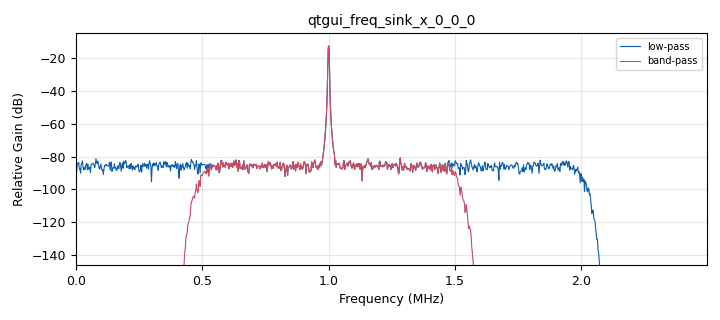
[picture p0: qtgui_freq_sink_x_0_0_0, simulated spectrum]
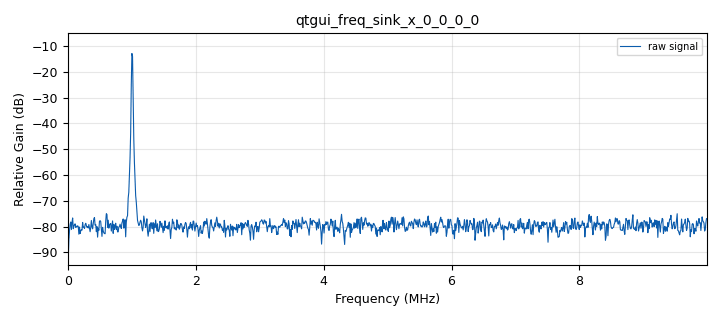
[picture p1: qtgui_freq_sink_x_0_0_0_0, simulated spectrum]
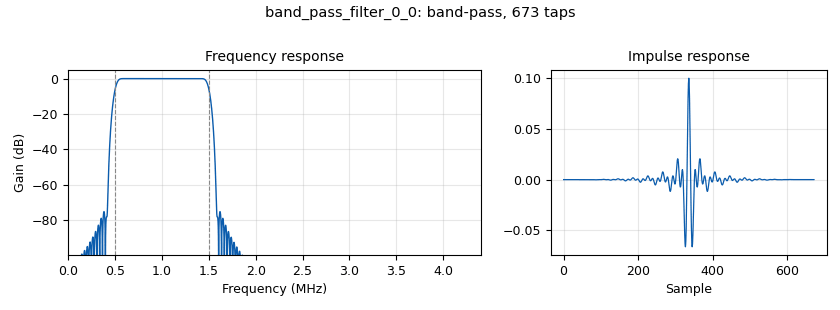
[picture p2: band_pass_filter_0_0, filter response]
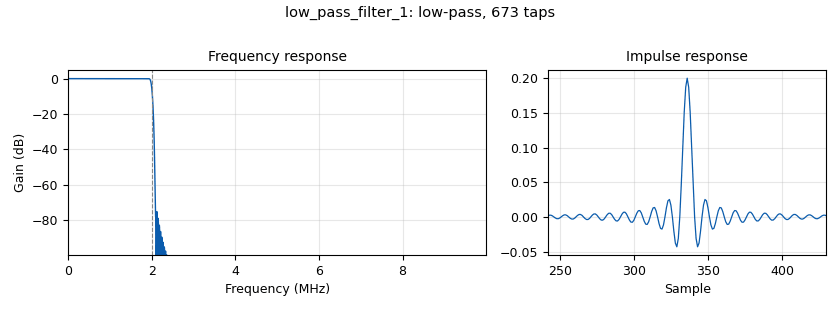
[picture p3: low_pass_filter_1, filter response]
<?xml version='1.0' encoding='utf-8'?>
<?grc format='1' created='3.7.11'?>
<flow_graph>
<block>
<key>options</key>
<param><key>id</key><value>top_block</value></param>
<param><key>generate_options</key><value>qt_gui</value></param>
<param><key>realtime_scheduling</key><value>1</value></param>
<param><key>thread_safe_setters</key><value>1</value></param>
</block>
<block>
<key>variable</key>
<param><key>id</key><value>decimation</value></param>
<param><key>value</key><value>4</value></param>
</block>
<block>
<key>variable_qtgui_range</key>
<param><key>id</key><value>freq</value></param>
<param><key>value</key><value>1e6</value></param>
<param><key>orient</key><value>Qt.Horizontal</value></param>
<param><key>start</key><value>10e3</value></param>
<param><key>step</key><value>2e5</value></param>
<param><key>stop</key><value>20e6</value></param>
</block>
<block>
<key>variable</key>
<param><key>id</key><value>samp_rate</value></param>
<param><key>value</key><value>20000000</value></param>
</block>
<block>
<key>analog_noise_source_x</key>
<param><key>id</key><value>analog_noise_source_x_0_0</value></param>
<param><key>amp</key><value>0.01</value></param>
<param><key>noise_type</key><value>analog.GR_GAUSSIAN</value></param>
<param><key>type</key><value>float</value></param>
<param><key>seed</key><value>0</value></param>
</block>
<block>
<key>analog_sig_source_x</key>
<param><key>id</key><value>analog_sig_source_x_0_0</value></param>
<param><key>amp</key><value>1</value></param>
<param><key>freq</key><value>freq</value></param>
<param><key>offset</key><value>0</value></param>
<param><key>type</key><value>float</value></param>
<param><key>samp_rate</key><value>samp_rate</value></param>
<param><key>waveform</key><value>analog.GR_SIN_WAVE</value></param>
</block>
<block>
<key>band_pass_filter</key>
<param><key>id</key><value>band_pass_filter_0_0</value></param>
<param><key>decim</key><value>decimation</value></param>
<param><key>type</key><value>fir_filter_fff</value></param>
<param><key>gain</key><value>1</value></param>
<param><key>high_cutoff_freq</key><value>1.5e6</value></param>
<param><key>low_cutoff_freq</key><value>5e5</value></param>
<param><key>samp_rate</key><value>samp_rate</value></param>
<param><key>width</key><value>1e5</value></param>
<param><key>win</key><value>firdes.WIN_BLACKMAN</value></param>
</block>
<block>
<key>blocks_add_xx</key>
<param><key>id</key><value>blocks_add_xx_0</value></param>
<param><key>type</key><value>float</value></param>
</block>
<block>
<key>blocks_throttle</key>
<param><key>id</key><value>blocks_throttle_0_0</value></param>
<param><key>samples_per_second</key><value>samp_rate</value></param>
<param><key>type</key><value>float</value></param>
</block>
<block>
<key>low_pass_filter</key>
<param><key>id</key><value>low_pass_filter_1</value></param>
<param><key>cutoff_freq</key><value>2e6</value></param>
<param><key>decim</key><value>decimation</value></param>
<param><key>type</key><value>fir_filter_fff</value></param>
<param><key>gain</key><value>1</value></param>
<param><key>samp_rate</key><value>samp_rate</value></param>
<param><key>width</key><value>100e3</value></param>
<param><key>win</key><value>firdes.WIN_BLACKMAN</value></param>
</block>
<block>
<key>qtgui_freq_sink_x</key>
<param><key>id</key><value>qtgui_freq_sink_x_0_0_0</value></param>
<param><key>autoscale</key><value>True</value></param>
<param><key>average</key><value>0.2</value></param>
<param><key>bw</key><value>samp_rate/decimation</value></param>
<param><key>fc</key><value>0</value></param>
<param><key>fftsize</key><value>2048</value></param>
<param><key>grid</key><value>True</value></param>
<param><key>color1</key><value>"red"</value></param>
<param><key>label1</key><value>low-pass</value></param>
<param><key>color2</key><value>"green"</value></param>
<param><key>label2</key><value>band-pass</value></param>
<param><key>nconnections</key><value>2</value></param>
<param><key>showports</key><value>True</value></param>
<param><key>freqhalf</key><value>False</value></param>
<param><key>type</key><value>float</value></param>
<param><key>wintype</key><value>firdes.WIN_HANN</value></param>
</block>
<block>
<key>qtgui_freq_sink_x</key>
<param><key>id</key><value>qtgui_freq_sink_x_0_0_0_0</value></param>
<param><key>autoscale</key><value>True</value></param>
<param><key>average</key><value>0.2</value></param>
<param><key>bw</key><value>samp_rate</value></param>
<param><key>fc</key><value>0</value></param>
<param><key>fftsize</key><value>2048</value></param>
<param><key>grid</key><value>True</value></param>
<param><key>label1</key><value>raw signal</value></param>
<param><key>showports</key><value>True</value></param>
<param><key>freqhalf</key><value>False</value></param>
<param><key>type</key><value>float</value></param>
<param><key>wintype</key><value>firdes.WIN_HANN</value></param>
</block>
<connection><source_block_id>analog_noise_source_x_0_0</source_block_id><sink_block_id>blocks_add_xx_0</sink_block_id><source_key>0</source_key><sink_key>0</sink_key></connection>
<connection><source_block_id>analog_sig_source_x_0_0</source_block_id><sink_block_id>blocks_add_xx_0</sink_block_id><source_key>0</source_key><sink_key>1</sink_key></connection>
<connection><source_block_id>band_pass_filter_0_0</source_block_id><sink_block_id>qtgui_freq_sink_x_0_0_0</sink_block_id><source_key>0</source_key><sink_key>1</sink_key></connection>
<connection><source_block_id>blocks_add_xx_0</source_block_id><sink_block_id>band_pass_filter_0_0</sink_block_id><source_key>0</source_key><sink_key>0</sink_key></connection>
<connection><source_block_id>blocks_add_xx_0</source_block_id><sink_block_id>blocks_throttle_0_0</sink_block_id><source_key>0</source_key><sink_key>0</sink_key></connection>
<connection><source_block_id>blocks_add_xx_0</source_block_id><sink_block_id>low_pass_filter_1</sink_block_id><source_key>0</source_key><sink_key>0</sink_key></connection>
<connection><source_block_id>blocks_throttle_0_0</source_block_id><sink_block_id>qtgui_freq_sink_x_0_0_0_0</sink_block_id><source_key>0</source_key><sink_key>0</sink_key></connection>
<connection><source_block_id>low_pass_filter_1</source_block_id><sink_block_id>qtgui_freq_sink_x_0_0_0</sink_block_id><source_key>0</source_key><sink_key>0</sink_key></connection>
</flow_graph>
